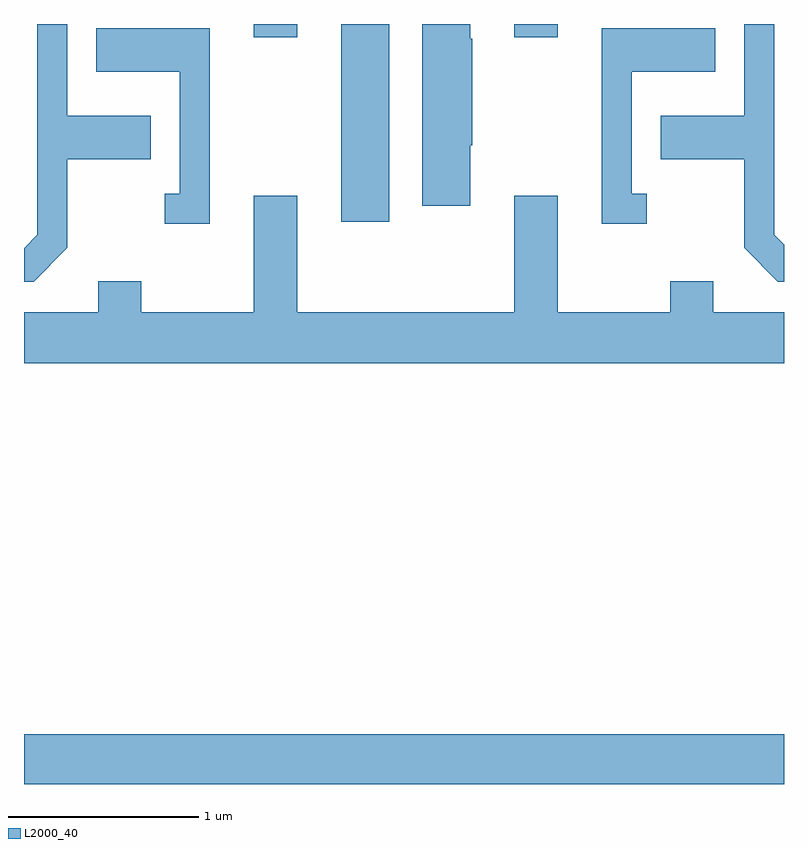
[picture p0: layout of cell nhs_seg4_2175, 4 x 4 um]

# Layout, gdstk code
import gdstk
lib = gdstk.Library(unit=1e-6, precision=1e-09)
def R(c, l, rs):  # rectangles x0, y0, x1, y1
    for r in rs: c.add(gdstk.rectangle(r[:2], r[2:], *l))
def P(c, l, *ps):  # polygons
    for p in ps: c.add(gdstk.Polygon(p, *l))
L2000_40 = (2000, 40)

nhs_seg4_2175 = lib.new_cell('nhs_seg4_2175')
R(nhs_seg4_2175, L2000_40, [(247.611,1387.982,251.611,1388.244), (249.281,1390.941,249.534,1391.982), (248.821,1391.911,249.049,1391.982), (250.191,1391.911,250.419,1391.982)])
P(nhs_seg4_2175, L2000_40, [(251.611,1390.82),(251.559,1390.872),(251.559,1391.982),(251.401,1391.982),(251.401,1391.499),(250.961,1391.499),(250.961,1391.271),(251.401,1391.271),(251.401,1390.804),(251.579,1390.626),(251.611,1390.626)],
  [(249.959,1391.345),(249.969,1391.345),(249.969,1391.905),(249.959,1391.905),(249.959,1391.982),(249.706,1391.982),(249.706,1391.026),(249.959,1391.026)],
  [(247.839,1390.804),(247.839,1391.271),(248.279,1391.271),(248.279,1391.499),(247.839,1391.499),(247.839,1391.982),(247.681,1391.982),(247.681,1390.872),(247.611,1390.801),(247.611,1390.626),(247.662,1390.626)],
  [(250.888,1391.089),(250.809,1391.089),(250.809,1391.731),(251.249,1391.731),(251.249,1391.959),(250.651,1391.959),(250.651,1390.931),(250.888,1390.931)],
  [(248.589,1391.959),(247.991,1391.959),(247.991,1391.731),(248.431,1391.731),(248.431,1391.089),(248.353,1391.089),(248.353,1390.931),(248.589,1390.931)],
  [(251.611,1390.464),(251.239,1390.464),(251.239,1390.629),(251.011,1390.629),(251.011,1390.464),(250.419,1390.464),(250.419,1391.079),(250.191,1391.079),(250.191,1390.464),(249.049,1390.464),(249.049,1391.079),(248.821,1391.079),(248.821,1390.464),(248.229,1390.464),(248.229,1390.629),(248.001,1390.629),(248.001,1390.464),(247.611,1390.464),(247.611,1390.196),(251.611,1390.196)])

lib.write_gds('nhs_seg4_2175.gds')
